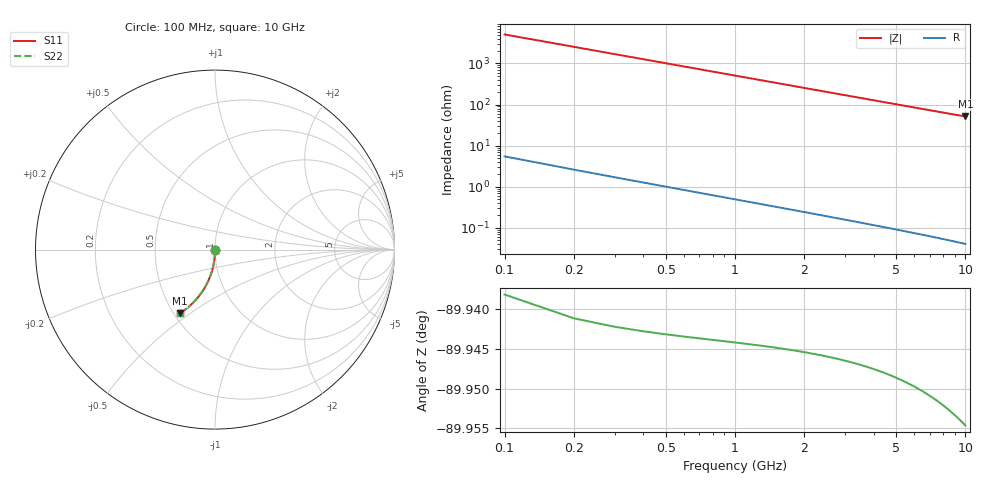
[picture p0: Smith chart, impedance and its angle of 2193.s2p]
# Hz S RI R 50.00
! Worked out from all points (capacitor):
!   100 points, 100 MHz to 10 GHz, reference 50 ohm
!   read as one part in shunt: C = 313 fF near 100 MHz
!   lowest |Z| = 51.4 ohm at 10 GHz (marker M1)
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1e8  0.00042 -0.00449  0.9995 -0.00535  0.9995 -0.00535  0.00042 -0.00449
2e8  0.000347 -0.00897  0.9994 -0.0107  0.9994 -0.0107  0.000347 -0.00897
3e8  0.000224 -0.0135  0.9993 -0.016  0.9993 -0.016  0.000224 -0.0135
4e8  5.32e-05 -0.0179  0.9991 -0.0214  0.9991 -0.0214  5.32e-05 -0.0179
5e8  -0.000166 -0.0224  0.9989 -0.0267  0.9989 -0.0267  -0.000166 -0.0224
6e8  -0.000433 -0.0269  0.9986 -0.0321  0.9986 -0.0321  -0.000433 -0.0269
7e8  -0.000748 -0.0314  0.9983 -0.0374  0.9983 -0.0374  -0.000748 -0.0314
8e8  -0.00111 -0.0358  0.9979 -0.0427  0.9979 -0.0427  -0.00111 -0.0358
9e8  -0.00152 -0.0403  0.9975 -0.0481  0.9975 -0.0481  -0.00152 -0.0403
1.1e9  -0.00248 -0.0492  0.9965 -0.0587  0.9965 -0.0587  -0.00248 -0.0492
1.4e9  -0.00428 -0.0625  0.9947 -0.0746  0.9947 -0.0746  -0.00428 -0.0625
1.8e9  -0.00734 -0.0801  0.9916 -0.0956  0.9916 -0.0956  -0.00734 -0.0801
2.1e9  -0.0101 -0.0932  0.9888 -0.1113  0.9888 -0.1113  -0.0101 -0.0932
2.5e9  -0.0144 -0.1104  0.9844 -0.132  0.9844 -0.132  -0.0144 -0.1104
2.9e9  -0.0195 -0.1274  0.9792 -0.1524  0.9792 -0.1524  -0.0195 -0.1274
3.4e9  -0.0267 -0.1482  0.9719 -0.1775  0.9719 -0.1775  -0.0267 -0.1482
4.2e9  -0.0405 -0.1803  0.9579 -0.2166  0.9579 -0.2166  -0.0405 -0.1803
5.1e9  -0.0588 -0.2145  0.9393 -0.2585  0.9393 -0.2585  -0.0588 -0.2145
5.9e9  -0.0773 -0.2429  0.9204 -0.2939  0.9204 -0.2939  -0.0773 -0.2429
6.7e9  -0.0978 -0.2693  0.8995 -0.3273  0.8995 -0.3273  -0.0978 -0.2693
8.4e9  -0.1461 -0.3181  0.8502 -0.391  0.8502 -0.391  -0.1461 -0.3181
1e10  -0.196 -0.3548  0.7992 -0.4417  0.7992 -0.4417  -0.196 -0.3548
